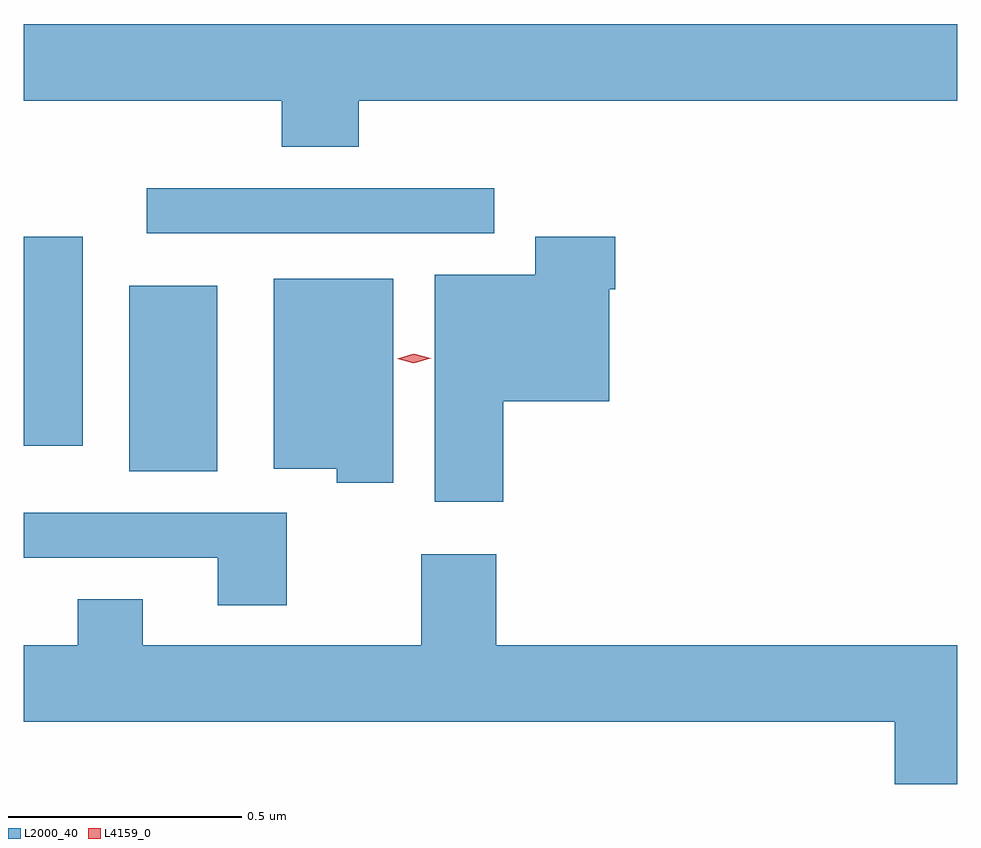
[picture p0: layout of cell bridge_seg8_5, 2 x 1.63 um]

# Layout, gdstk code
import gdstk
lib = gdstk.Library(unit=1e-6, precision=1e-09)
def R(c, l, rs):  # rectangles x0, y0, x1, y1
    for r in rs: c.add(gdstk.rectangle(r[:2], r[2:], *l))
def P(c, l, *ps):  # polygons
    for p in ps: c.add(gdstk.Polygon(p, *l))
L2000_40 = (2000, 40)
L4159_0 = (4159, 0)

bridge_seg8_5 = lib.new_cell('bridge_seg8_5')
R(bridge_seg8_5, L2000_40, [(953.24,1146.341,953.428,1146.739), (953.014,1146.396,953.14,1146.844), (953.277,1146.852,954.022,1146.948)])
P(bridge_seg8_5, L2000_40, [(953.732,1147.136),(955.014,1147.136),(955.014,1147.3),(953.014,1147.3),(953.014,1147.136),(953.567,1147.136),(953.567,1147.037),(953.732,1147.037)],
  [(954.041,1146.491),(954.268,1146.491),(954.268,1146.731),(954.281,1146.731),(954.281,1146.844),(954.11,1146.844),(954.11,1146.763),(953.894,1146.763),(953.894,1146.276),(954.041,1146.276)],
  [(953.806,1146.754),(953.549,1146.754),(953.549,1146.347),(953.684,1146.347),(953.684,1146.317),(953.806,1146.317)],
  [(953.577,1146.252),(953.014,1146.252),(953.014,1146.156),(953.429,1146.156),(953.429,1146.054),(953.577,1146.054)],
  [(955.014,1145.968),(954.026,1145.968),(954.026,1146.163),(953.866,1146.163),(953.866,1145.968),(953.269,1145.968),(953.269,1146.067),(953.129,1146.067),(953.129,1145.968),(953.014,1145.968),(953.014,1145.804),(954.881,1145.804),(954.881,1145.671),(955.014,1145.671)])
P(bridge_seg8_5, L4159_0, [(953.85,1146.573),(953.814,1146.583),(953.814,1146.583),(953.814,1146.583),(953.85,1146.593),(953.886,1146.584),(953.887,1146.584),(953.886,1146.584)])

lib.write_gds('bridge_seg8_5.gds')
